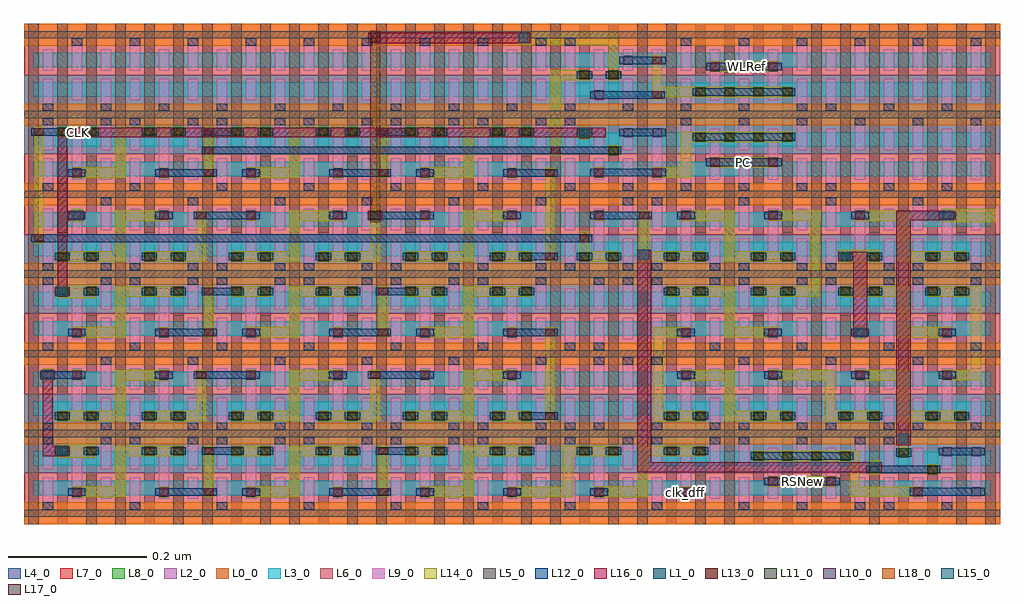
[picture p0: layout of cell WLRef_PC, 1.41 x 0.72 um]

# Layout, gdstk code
from math import pi, radians
import gdstk
lib = gdstk.Library(unit=1e-6, precision=5e-10)
def R(c, l, rs):  # rectangles x0, y0, x1, y1
    for r in rs: c.add(gdstk.rectangle(r[:2], r[2:], *l))
def A(c, l, x, y, w, h, nx, ny, dx, dy):  # array of equal rectangles
    R(c, l, [(x+i*dx, y+j*dy, x+i*dx+w, y+j*dy+h) for i in range(nx) for j in range(ny)])
L0_0 = (0, 0)
L1_0 = (1, 0)
L2_0 = (2, 0)
L3_0 = (3, 0)
L4_0 = (4, 0)
L5_0 = (5, 0)
L6_0 = (6, 0)
L7_0 = (7, 0)
L8_0 = (8, 0)
L9_0 = (9, 0)
L10_0 = (10, 0)
L11_0 = (11, 0)
L12_0 = (12, 0)
L13_0 = (13, 0)
L14_0 = (14, 0)
L15_0 = (15, 0)
L16_0 = (16, 0)
L17_0 = (17, 0)
L18_0 = (18, 0)

m1_m2 = lib.new_cell('M1_M2')
R(m1_m2, L14_0, [(-0.007,-0.01,0.007,0.01)])
R(m1_m2, L15_0, [(-0.007,-0.007,0.007,0.007)])
R(m1_m2, L16_0, [(-0.01,-0.007,0.01,0.007)])

nmos = lib.new_cell('nmos')
R(nmos, L3_0, [(-0.042,-0.0105,0.042,0.0105)])
A(nmos, L4_0, -0.0495, -0.032, 0.015, 0.064, 3, 1, 0.042, 0)
R(nmos, L7_0, [(-0.0555,-0.021,0.0555,0.0205)])
R(nmos, L9_0, [(-0.0285,-0.0155,-0.0135,0.0155), (0.0135,-0.0155,0.0285,0.0155)])

pmos = lib.new_cell('pmos')
R(pmos, L2_0, [(-0.042,-0.0205,0.042,0.0205)])
R(pmos, L3_0, [(-0.042,-0.0105,0.042,0.0105)])
A(pmos, L4_0, -0.0495, -0.032, 0.015, 0.064, 3, 1, 0.042, 0)
R(pmos, L8_0, [(-0.0555,-0.0205,0.0555,0.0205)])
R(pmos, L9_0, [(-0.0285,-0.0155,-0.0135,0.0155), (0.0135,-0.0155,0.0285,0.0155)])

bpr_m0a = lib.new_cell('BPR_M0A')
R(bpr_m0a, L0_0, [(-0.021,-0.0055,0.021,0.026)])
R(bpr_m0a, L1_0, [(-0.0075,-0.0055,0.0075,0.005)])
R(bpr_m0a, L9_0, [(-0.0075,-0.0165,0.0075,0.005)])

m0a_m0b = lib.new_cell('M0A_M0B')
R(m0a_m0b, L9_0, [(-0.0075,-0.0055,0.0075,0.0055)])
R(m0a_m0b, L10_0, [(-0.0065,-0.0065,0.0065,0.0065)])
R(m0a_m0b, L12_0, [(-0.0125,-0.0055,0.0125,0.0055)])

gate_m0b = lib.new_cell('GATE_M0B')
R(gate_m0b, L4_0, [(-0.0075,-0.0115,0.0075,0.0115)])
R(gate_m0b, L11_0, [(-0.0075,-0.0065,0.0075,0.0065)])
R(gate_m0b, L12_0, [(-0.011,-0.0055,0.011,0.0055)])

m0b_m1 = lib.new_cell('M0B_M1')
R(m0b_m1, L12_0, [(-0.011,-0.005,0.011,0.005)])
R(m0b_m1, L13_0, [(-0.007,-0.005,0.007,0.005)])
R(m0b_m1, L14_0, [(-0.007,-0.0075,0.007,0.0075)])

inv = lib.new_cell('inv')
R(inv, L0_0, [(0,0,0.153,0.0315), (0.025,0.006,0.0415,0.016), (0,0.1155,0.153,0.147), (0.11,0.131,0.125,0.1425)])
R(inv, L2_0, [(0,0.0745,0.153,0.147)])
A(inv, L4_0, 0.006, 0, 0.015, 0.147, 4, 1, 0.042, 0)
R(inv, L5_0, [(0,0.0105,0.153,0.021), (0,0.126,0.153,0.1365)])
R(inv, L6_0, [(0.006,0,0.021,0.147), (0.09,0,0.105,0.0715), (0.132,0,0.147,0.147)])
R(inv, L7_0, [(0,0,0.153,0.0745)])
R(inv, L8_0, [(0,0.075,0.153,0.1475)])
R(inv, L9_0, [(0.069,0.068,0.084,0.0795)])
R(inv, L12_0, [(0.0915,0.103,0.1055,0.1095)])
R(inv, L14_0, [(0.071,0.0415,0.0815,0.051), (0.0485,0.0985,0.1045,0.1135)])
inv.add(gdstk.Reference(nmos, (0.0975,0.0525)))
inv.add(gdstk.Reference(nmos, (0.0555,0.0525)))
inv.add(gdstk.Reference(pmos, (0.0975,0.095)))
inv.add(gdstk.Reference(pmos, (0.0555,0.095)))
inv.add(gdstk.Reference(bpr_m0a, (0.0345,0.026), rotation=pi))
inv.add(gdstk.Reference(bpr_m0a, (0.0345,0.121)))
inv.add(gdstk.Reference(bpr_m0a, (0.1185,0.121)))
inv.add(gdstk.Reference(m0a_m0b, (0.0765,0.0465)))
inv.add(gdstk.Reference(gate_m0b, (0.0555,0.106)))
inv.add(gdstk.Reference(gate_m0b, (0.0975,0.106)))
inv.add(gdstk.Reference(m0b_m1, (0.0555,0.106)))
inv.add(gdstk.Reference(m0b_m1, (0.0765,0.0465)))
inv.add(gdstk.Reference(m0b_m1, (0.0975,0.106)))
inv.add(gdstk.Label('vdd!', (0.1175,0.1365), layer=0, texttype=0))
inv.add(gdstk.Label('gnd!', (0.033,0.011), layer=0, texttype=0))
inv.add(gdstk.Label('out', (0.075,0.0435), layer=14, texttype=0))
inv.add(gdstk.Label('in', (0.0985,0.1045), layer=14, texttype=0))

buffer = lib.new_cell('buffer')
R(buffer, L0_0, [(0.045,0.0065,0.0615,0.0165), (0.13,0.1315,0.145,0.143)])
R(buffer, L14_0, [(0.0895,0.0395,0.167,0.0555), (0.152,0.0395,0.167,0.114), (0.217,0.0435,0.2275,0.053), (0.152,0.099,0.2125,0.114)])
buffer.add(gdstk.Reference(inv, (0.146,0.0005)))
buffer.add(gdstk.Reference(inv, (0.02,0.0005)))
buffer.add(gdstk.Label('out', (0.222,0.048), layer=14, texttype=0))
buffer.add(gdstk.Label('vdd!', (0.1375,0.137), layer=0, texttype=0))
buffer.add(gdstk.Label('gnd!', (0.053,0.0115), layer=0, texttype=0))

nor = lib.new_cell('nor')
R(nor, L0_0, [(0.157,0.0005,0.352,0.032), (0.186,0.009,0.1965,0.016), (0.157,0.116,0.352,0.1475), (0.1885,0.1335,0.1945,0.1415)])
R(nor, L2_0, [(0.157,0.075,0.352,0.1325)])
A(nor, L4_0, 0.163, 0.0005, 0.015, 0.147, 5, 1, 0.042, 0)
R(nor, L5_0, [(0.157,0.011,0.352,0.0215), (0.157,0.1265,0.352,0.137)])
R(nor, L6_0, [(0.163,0.0005,0.178,0.1475), (0.289,0.0005,0.304,0.1475), (0.331,0.0005,0.346,0.1475)])
R(nor, L7_0, [(0.157,0.0005,0.352,0.075)])
R(nor, L8_0, [(0.157,0.075,0.352,0.148)])
R(nor, L9_0, [(0.31,0.0635,0.325,0.0955)])
R(nor, L12_0, [(0.221,0.042,0.325,0.053), (0.263,0.1,0.33,0.111)])
R(nor, L14_0, [(0.2315,0.0455,0.2355,0.0495), (0.253,0.0775,0.2565,0.0805), (0.209,0.1035,0.2155,0.1085)])
nor.add(gdstk.Reference(bpr_m0a, (0.1915,0.1215)))
nor.add(gdstk.Reference(bpr_m0a, (0.2755,0.0265), rotation=pi))
nor.add(gdstk.Reference(bpr_m0a, (0.1915,0.0265), rotation=pi))
nor.add(gdstk.Reference(nmos, (0.2965,0.053)))
nor.add(gdstk.Reference(nmos, (0.2545,0.053)))
nor.add(gdstk.Reference(nmos, (0.2125,0.053)))
nor.add(gdstk.Reference(pmos, (0.2965,0.0955)))
nor.add(gdstk.Reference(pmos, (0.2545,0.0955)))
nor.add(gdstk.Reference(pmos, (0.2125,0.0955)))
nor.add(gdstk.Reference(m0b_m1, (0.2545,0.0795)))
nor.add(gdstk.Reference(m0b_m1, (0.2125,0.1055)))
nor.add(gdstk.Reference(m0b_m1, (0.2335,0.0475)))
nor.add(gdstk.Reference(m0a_m0b, (0.3175,0.0475)))
nor.add(gdstk.Reference(m0a_m0b, (0.3175,0.1055)))
nor.add(gdstk.Reference(m0a_m0b, (0.2755,0.1055)))
nor.add(gdstk.Reference(m0a_m0b, (0.2335,0.0475)))
nor.add(gdstk.Reference(gate_m0b, (0.2545,0.0795)))
nor.add(gdstk.Reference(gate_m0b, (0.2125,0.104)))
nor.add(gdstk.Label('Y', (0.2335,0.0475), layer=14, texttype=0))
nor.add(gdstk.Label('B', (0.2545,0.079), layer=14, texttype=0))
nor.add(gdstk.Label('A', (0.212,0.106), layer=14, texttype=0))
nor.add(gdstk.Label('gnd!', (0.191,0.0125), layer=0, texttype=0))
nor.add(gdstk.Label('vdd!', (0.1915,0.1375), layer=0, texttype=0))

invx4 = lib.new_cell('invx4')
R(invx4, L0_0, [(0.006,0,0.243,0.0315), (0.033,0.0045,0.0535,0.0175), (0.006,0.1155,0.243,0.147), (0.194,0.131,0.215,0.143)])
R(invx4, L2_0, [(0.006,0.0745,0.243,0.147)])
A(invx4, L4_0, 0.012, 0, 0.015, 0.147, 6, 1, 0.042, 0)
R(invx4, L5_0, [(0.006,0.0105,0.243,0.021), (0.006,0.126,0.243,0.1365)])
R(invx4, L6_0, [(0.012,0,0.027,0.147), (0.222,0,0.237,0.147), (0.138,0.0315,0.153,0.0715), (0.18,0.0315,0.195,0.0715)])
R(invx4, L7_0, [(0.006,0,0.243,0.0745)])
R(invx4, L8_0, [(0.006,0.075,0.243,0.1475)])
R(invx4, L9_0, [(0.075,0.06,0.09,0.0795), (0.159,0.06,0.174,0.08)])
R(invx4, L12_0, [(0.07,0.0565,0.179,0.0675), (0.0505,0.093,0.1985,0.104)])
R(invx4, L14_0, [(0.0755,0.0545,0.1735,0.0695), (0.0795,0.058,0.0865,0.0645), (0.0545,0.091,0.1945,0.106), (0.079,0.0965,0.0855,0.1015)])
invx4.add(gdstk.Reference(bpr_m0a, (0.2085,0.121)))
invx4.add(gdstk.Reference(bpr_m0a, (0.1245,0.026), rotation=pi))
invx4.add(gdstk.Reference(bpr_m0a, (0.2085,0.026), rotation=pi))
invx4.add(gdstk.Reference(bpr_m0a, (0.0405,0.026), rotation=pi))
invx4.add(gdstk.Reference(bpr_m0a, (0.1245,0.121)))
invx4.add(gdstk.Reference(bpr_m0a, (0.0405,0.121)))
invx4.add(gdstk.Reference(gate_m0b, (0.0615,0.0985)))
invx4.add(gdstk.Reference(gate_m0b, (0.1035,0.0985)))
invx4.add(gdstk.Reference(gate_m0b, (0.1455,0.0985)))
invx4.add(gdstk.Reference(gate_m0b, (0.1875,0.0985)))
invx4.add(gdstk.Reference(m0a_m0b, (0.0825,0.062)))
invx4.add(gdstk.Reference(m0a_m0b, (0.1665,0.062)))
invx4.add(gdstk.Reference(nmos, (0.1875,0.0525)))
invx4.add(gdstk.Reference(nmos, (0.1455,0.0525)))
invx4.add(gdstk.Reference(nmos, (0.0615,0.0525)))
invx4.add(gdstk.Reference(nmos, (0.1035,0.0525)))
invx4.add(gdstk.Reference(pmos, (0.1875,0.095)))
invx4.add(gdstk.Reference(pmos, (0.1455,0.095)))
invx4.add(gdstk.Reference(pmos, (0.1035,0.095)))
invx4.add(gdstk.Reference(pmos, (0.0615,0.095)))
invx4.add(gdstk.Reference(m0b_m1, (0.0615,0.0985)))
invx4.add(gdstk.Reference(m0b_m1, (0.1035,0.0985)))
invx4.add(gdstk.Reference(m0b_m1, (0.1455,0.0985)))
invx4.add(gdstk.Reference(m0b_m1, (0.1875,0.0985)))
invx4.add(gdstk.Reference(m0b_m1, (0.0825,0.062)))
invx4.add(gdstk.Reference(m0b_m1, (0.1665,0.062)))
invx4.add(gdstk.Label('vdd!', (0.2045,0.137), layer=0, texttype=0))
invx4.add(gdstk.Label('gnd!', (0.043,0.011), layer=0, texttype=0))
invx4.add(gdstk.Label('in', (0.082,0.099), layer=14, texttype=0))
invx4.add(gdstk.Label('out', (0.083,0.061), layer=14, texttype=0))

sram_filler = lib.new_cell('sram_filler')
R(sram_filler, L0_0, [(0.001,0,0.112,0.0315), (0.072,0.0115,0.084,0.0245), (0.001,0.1155,0.112,0.147), (0.072,0.121,0.0855,0.141)])
R(sram_filler, L2_0, [(0.001,0.0745,0.112,0.147)])
A(sram_filler, L4_0, 0.007, 0, 0.015, 0.147, 3, 1, 0.042, 0)
R(sram_filler, L5_0, [(0.001,0.0105,0.112,0.021), (0.001,0.126,0.112,0.1365)])
A(sram_filler, L6_0, 0.007, 0, 0.015, 0.147, 3, 1, 0.042, 0)
R(sram_filler, L7_0, [(0.001,0,0.112,0.0745)])
R(sram_filler, L8_0, [(0.001,0.075,0.112,0.1475)])
sram_filler.add(gdstk.Reference(nmos, (0.0565,0.0525)))
sram_filler.add(gdstk.Reference(pmos, (0.0565,0.095)))
sram_filler.add(gdstk.Reference(bpr_m0a, (0.0355,0.026), rotation=pi))
sram_filler.add(gdstk.Reference(bpr_m0a, (0.0775,0.121)))

nand = lib.new_cell('nand')
R(nand, L0_0, [(0.1045,0.057,0.2155,0.0885), (0.1465,0.057,0.2995,0.0885), (0.133,0.0665,0.142,0.074), (0.1045,0.1725,0.2155,0.204), (0.1465,0.1725,0.2995,0.204), (0.137,0.192,0.143,0.198)])
R(nand, L2_0, [(0.1045,0.1315,0.2155,0.204), (0.1465,0.1315,0.2995,0.204)])
A(nand, L4_0, 0.1105, 0.057, 0.015, 0.147, 5, 1, 0.042, 0)
R(nand, L4_0, [(0.2785,0.057,0.2935,0.204)])
R(nand, L5_0, [(0.1045,0.0675,0.2995,0.078), (0.1045,0.183,0.2995,0.1935)])
R(nand, L6_0, [(0.1105,0.057,0.1255,0.204), (0.2365,0.057,0.2515,0.204), (0.2785,0.057,0.2935,0.204)])
R(nand, L7_0, [(0.1045,0.057,0.2155,0.1315), (0.1465,0.057,0.2995,0.1315)])
R(nand, L8_0, [(0.1045,0.132,0.2155,0.2045), (0.1465,0.133,0.2995,0.2045)])
R(nand, L12_0, [(0.2105,0.1045,0.2775,0.1155), (0.1685,0.1545,0.276,0.1655)])
R(nand, L14_0, [(0.258,0.1025,0.272,0.1675), (0.1575,0.129,0.162,0.134), (0.2,0.1295,0.204,0.133), (0.262,0.1575,0.2675,0.1625)])
nand.add(gdstk.Reference(nmos, (0.244,0.1095), rotation=pi, x_reflection=True))
nand.add(gdstk.Reference(nmos, (0.16,0.1095), rotation=pi, x_reflection=True))
nand.add(gdstk.Reference(pmos, (0.16,0.152), rotation=pi, x_reflection=True))
nand.add(gdstk.Reference(pmos, (0.202,0.152), rotation=pi, x_reflection=True))
nand.add(gdstk.Reference(pmos, (0.244,0.152), rotation=pi, x_reflection=True))
nand.add(gdstk.Reference(bpr_m0a, (0.139,0.178), rotation=pi, x_reflection=True))
nand.add(gdstk.Reference(bpr_m0a, (0.139,0.083), x_reflection=True))
nand.add(gdstk.Reference(bpr_m0a, (0.223,0.178), rotation=pi, x_reflection=True))
nand.add(gdstk.Reference(m0a_m0b, (0.181,0.16)))
nand.add(gdstk.Reference(m0a_m0b, (0.223,0.11)))
nand.add(gdstk.Reference(m0b_m1, (0.265,0.16)))
nand.add(gdstk.Reference(m0b_m1, (0.265,0.11)))
nand.add(gdstk.Reference(m0b_m1, (0.202,0.131)))
nand.add(gdstk.Reference(m0b_m1, (0.16,0.131)))
nand.add(gdstk.Reference(gate_m0b, (0.202,0.131)))
nand.add(gdstk.Reference(gate_m0b, (0.16,0.131)))
nand.add(gdstk.Label('Y', (0.2645,0.16), layer=14, texttype=0))
nand.add(gdstk.Label('A', (0.1595,0.1315), layer=14, texttype=0))
nand.add(gdstk.Label('B', (0.202,0.131), layer=14, texttype=0))
nand.add(gdstk.Label('gnd!', (0.1375,0.07), layer=0, texttype=0))
nand.add(gdstk.Label('vdd!', (0.14,0.195), layer=0, texttype=0))

m2_m3 = lib.new_cell('M2_M3')
R(m2_m3, L16_0, [(-0.01,-0.007,0.01,0.007)])
R(m2_m3, L17_0, [(-0.007,-0.007,0.007,0.007)])
R(m2_m3, L18_0, [(-0.0075,-0.01,0.0075,0.01)])

wlref_pc = lib.new_cell('WLRef_PC')
A(wlref_pc, L12_0, 0.275, 0.0415, 0.089, 0.011, 1, 3, 0, 0.231)
A(wlref_pc, L12_0, 0.527, 0.0415, 0.089, 0.011, 1, 3, 0, 0.231)
A(wlref_pc, L12_0, 0.342, 0.101, 0.0615, 0.011, 1, 3, 0, 0.231)
A(wlref_pc, L12_0, 0.594, 0.101, 0.0615, 0.011, 1, 3, 0, 0.231)
R(wlref_pc, L12_0, [(1.3045,0.074,1.4115,0.085), (0.8015,0.1515,0.8575,0.1625), (0.1085,0.211,0.174,0.222), (0.3305,0.211,0.426,0.222), (0.5825,0.211,0.678,0.222), (0.779,0.2725,0.8575,0.2835), (0.8015,0.3825,0.8575,0.3935), (0.0955,0.409,0.9075,0.42), (0.3305,0.442,0.426,0.453), (0.5825,0.442,0.678,0.453), (0.905,0.442,0.994,0.453), (0.779,0.5035,0.8575,0.5145), (0.342,0.536,0.9495,0.547), (0.0955,0.563,0.1515,0.574)])
A(wlref_pc, L14_0, 0.346, 0.04, 0.014, 0.072, 1, 3, 0, 0.231)
A(wlref_pc, L14_0, 0.598, 0.04, 0.014, 0.072, 1, 3, 0, 0.231)
R(wlref_pc, L14_0, [(0.7845,0.0395,0.8795,0.0545), (0.865,0.0395,0.8795,0.114), (1.2805,0.04,1.3865,0.055), (1.037,0.0405,1.049,0.054), (1.2805,0.0405,1.2945,0.1065), (1.2005,0.0565,1.223,0.0675), (1.3095,0.072,1.324,0.093), (1.2675,0.0915,1.2945,0.1065), (0.1335,0.0965,0.1895,0.1165), (1.3515,0.098,1.3655,0.135), (0.865,0.099,0.9125,0.114), (1.3515,0.1145,1.3655,0.1345), (0.9965,0.1485,1.0505,0.1645), (0.9965,0.1485,1.0105,0.2855), (0.3015,0.1495,0.3485,0.1645), (0.3345,0.1495,0.3485,0.224), (0.5535,0.1495,0.6005,0.1645), (0.5865,0.1495,0.6005,0.224), (1.2445,0.1495,1.2585,0.224), (1.2445,0.1495,1.2875,0.1645), (0.8395,0.151,0.8535,0.2855), (1.1625,0.209,1.2585,0.224), (1.4145,0.209,1.471,0.224), (1.456,0.209,1.471,0.345), (0.9965,0.2705,1.0505,0.2855), (0.1335,0.3275,0.1895,0.3475), (1.1775,0.33,1.237,0.345), (1.223,0.33,1.237,0.455), (1.429,0.33,1.471,0.345), (1.2635,0.378,1.3235,0.398), (0.3015,0.3805,0.3485,0.3955), (0.3345,0.3805,0.3485,0.455), (0.5535,0.3805,0.6005,0.3955), (0.5865,0.3805,0.6005,0.455), (0.8895,0.3805,0.9035,0.4245), (0.976,0.3805,0.99,0.455), (0.976,0.3805,1.0295,0.3955), (0.8395,0.382,0.8535,0.5165), (0.0995,0.4075,0.1135,0.576), (1.4145,0.4375,1.492,0.4575), (1.1625,0.44,1.2395,0.455), (0.9945,0.502,1.051,0.517), (1.036,0.502,1.051,0.5685), (1.115,0.5175,1.139,0.5295), (0.847,0.534,0.862,0.6585), (1.036,0.5535,1.074,0.5685), (0.158,0.564,0.1695,0.5725), (0.9945,0.619,1.074,0.634), (0.847,0.6435,0.9035,0.6585), (0.9315,0.6435,0.9455,0.7145), (1.122,0.657,1.139,0.6695), (0.801,0.6945,0.9455,0.7145)])
R(wlref_pc, L16_0, [(0.973,0.0755,1.327,0.0905), (0.973,0.0755,0.993,0.3975), (0.1125,0.099,0.1265,0.224), (0.1125,0.099,0.1505,0.114), (1.3475,0.1145,1.3685,0.4545), (1.2855,0.271,1.3055,0.395), (0.1335,0.33,0.1475,0.5745), (1.2635,0.381,1.305,0.395), (0.1335,0.4405,0.1715,0.4545), (1.3475,0.4405,1.4315,0.4545), (0.1335,0.5605,0.9275,0.5745), (0.5835,0.697,0.818,0.712)])
R(wlref_pc, L18_0, [(0.586,0.4375,0.601,0.715)])
wlref_pc.add(gdstk.Reference(m1_m2, (0.808,0.7045)))
wlref_pc.add(gdstk.Reference(m1_m2, (0.5935,0.4475)))
wlref_pc.add(gdstk.Reference(m1_m2, (1.358,0.1245)))
wlref_pc.add(gdstk.Reference(m1_m2, (1.4215,0.4475)))
wlref_pc.add(gdstk.Reference(m1_m2, (1.3165,0.083)))
wlref_pc.add(gdstk.Reference(m1_m2, (0.983,0.3905)))
wlref_pc.add(gdstk.Reference(m1_m2, (1.2735,0.388)))
wlref_pc.add(gdstk.Reference(m1_m2, (1.2955,0.278)))
wlref_pc.add(gdstk.Reference(m1_m2, (0.8965,0.5675)))
wlref_pc.add(gdstk.Reference(m1_m2, (0.1405,0.1065)))
wlref_pc.add(gdstk.Reference(m1_m2, (0.1405,0.3375)))
wlref_pc.add(gdstk.Reference(m1_m2, (0.1615,0.4475)))
wlref_pc.add(gdstk.Reference(m1_m2, (0.1195,0.2165)))
wlref_pc.add(gdstk.Reference(buffer, (1.199,0.2635), x_reflection=True))
wlref_pc.add(gdstk.Reference(buffer, (1.518,0.231), rotation=pi, x_reflection=True))
wlref_pc.add(gdstk.Reference(buffer, (1.199,0.4945), x_reflection=True))
wlref_pc.add(gdstk.Reference(buffer, (0.821,0)))
wlref_pc.add(gdstk.Reference(buffer, (0.947,0.2635), x_reflection=True))
wlref_pc.add(gdstk.Reference(buffer, (1.266,0.231), rotation=pi, x_reflection=True))
wlref_pc.add(gdstk.Reference(buffer, (0.947,0.4945), x_reflection=True))
wlref_pc.add(gdstk.Reference(buffer, (0.384,0.4945), rotation=pi))
wlref_pc.add(gdstk.Reference(buffer, (0.636,0.4945), rotation=pi))
wlref_pc.add(gdstk.Reference(buffer, (0.888,0.4945), rotation=pi))
wlref_pc.add(gdstk.Reference(buffer, (0.569,0.462)))
wlref_pc.add(gdstk.Reference(buffer, (0.317,0.462)))
wlref_pc.add(gdstk.Reference(buffer, (0.065,0.462)))
wlref_pc.add(gdstk.Reference(buffer, (0.065,0)))
wlref_pc.add(gdstk.Reference(buffer, (0.317,0)))
wlref_pc.add(gdstk.Reference(buffer, (0.569,0)))
wlref_pc.add(gdstk.Reference(buffer, (0.065,0.231)))
wlref_pc.add(gdstk.Reference(buffer, (0.317,0.231)))
wlref_pc.add(gdstk.Reference(buffer, (0.569,0.231)))
wlref_pc.add(gdstk.Reference(buffer, (0.888,0.2635), rotation=pi))
wlref_pc.add(gdstk.Reference(buffer, (0.636,0.2635), rotation=pi))
wlref_pc.add(gdstk.Reference(buffer, (0.384,0.2635), rotation=pi))
wlref_pc.add(gdstk.Reference(nor, (1.146,0)))
wlref_pc.add(gdstk.Reference(nor, (0.684,0.462)))
wlref_pc.add(gdstk.Reference(m0b_m1, (0.605,0.0475)))
wlref_pc.add(gdstk.Reference(m0b_m1, (0.605,0.1065)))
wlref_pc.add(gdstk.Reference(m0b_m1, (0.353,0.0475)))
wlref_pc.add(gdstk.Reference(m0b_m1, (0.353,0.1065)))
wlref_pc.add(gdstk.Reference(m0b_m1, (0.8545,0.5415)))
wlref_pc.add(gdstk.Reference(m0b_m1, (1.3155,0.0795)))
wlref_pc.add(gdstk.Reference(m0b_m1, (0.8965,0.4145)))
wlref_pc.add(gdstk.Reference(m0b_m1, (0.1065,0.415)))
wlref_pc.add(gdstk.Reference(m0b_m1, (0.1065,0.5685)))
wlref_pc.add(gdstk.Reference(m0b_m1, (1.0015,0.5095)))
wlref_pc.add(gdstk.Reference(m0b_m1, (0.353,0.5415)))
wlref_pc.add(gdstk.Reference(m0b_m1, (0.353,0.569)))
wlref_pc.add(gdstk.Reference(m0b_m1, (0.353,0.5095)))
wlref_pc.add(gdstk.Reference(m0b_m1, (0.605,0.569)))
wlref_pc.add(gdstk.Reference(m0b_m1, (0.983,0.4475)))
wlref_pc.add(gdstk.Reference(m0b_m1, (0.353,0.2785)))
wlref_pc.add(gdstk.Reference(m0b_m1, (0.353,0.338)))
wlref_pc.add(gdstk.Reference(m0b_m1, (0.605,0.338)))
wlref_pc.add(gdstk.Reference(m0b_m1, (0.605,0.2785)))
wlref_pc.add(gdstk.Reference(m0b_m1, (0.8465,0.278)))
wlref_pc.add(gdstk.Reference(m0b_m1, (0.605,0.5095)))
wlref_pc.add(gdstk.Reference(m0b_m1, (0.1195,0.2165)))
wlref_pc.add(gdstk.Reference(m0b_m1, (0.8465,0.157)))
wlref_pc.add(gdstk.Reference(m0b_m1, (0.5935,0.2165)))
wlref_pc.add(gdstk.Reference(m0b_m1, (0.3415,0.4475)))
wlref_pc.add(gdstk.Reference(m0b_m1, (0.3415,0.2165)))
wlref_pc.add(gdstk.Reference(m0b_m1, (0.5935,0.4475)))
wlref_pc.add(gdstk.Reference(m0b_m1, (0.8465,0.388)))
wlref_pc.add(gdstk.Reference(m0b_m1, (0.8465,0.509)))
wlref_pc.add(gdstk.Reference(invx4, (1.252,0.725), rotation=pi))
wlref_pc.add(gdstk.Reference(invx4, (1.087,0.0005)))
wlref_pc.add(gdstk.Reference(invx4, (1.003,0.4625)))
wlref_pc.add(gdstk.Reference(inv, (0.994,0.494), rotation=pi))
wlref_pc.add(gdstk.Reference(sram_filler, (0.197,0.725), rotation=pi))
wlref_pc.add(gdstk.Reference(sram_filler, (0.281,0.725), rotation=pi))
wlref_pc.add(gdstk.Reference(sram_filler, (0.365,0.725), rotation=pi))
wlref_pc.add(gdstk.Reference(sram_filler, (0.449,0.725), rotation=pi))
wlref_pc.add(gdstk.Reference(sram_filler, (0.533,0.725), rotation=pi))
wlref_pc.add(gdstk.Reference(sram_filler, (0.617,0.725), rotation=pi))
wlref_pc.add(gdstk.Reference(sram_filler, (0.701,0.725), rotation=pi))
wlref_pc.add(gdstk.Reference(sram_filler, (0.785,0.725), rotation=pi))
wlref_pc.add(gdstk.Reference(sram_filler, (0.869,0.725), rotation=pi))
wlref_pc.add(gdstk.Reference(sram_filler, (0.869,0.725), rotation=pi))
wlref_pc.add(gdstk.Reference(sram_filler, (1.499,0.725), rotation=pi))
wlref_pc.add(gdstk.Reference(sram_filler, (1.415,0.725), rotation=pi))
wlref_pc.add(gdstk.Reference(sram_filler, (1.331,0.725), rotation=pi))
wlref_pc.add(gdstk.Reference(sram_filler, (1.386,0.4625)))
wlref_pc.add(gdstk.Reference(sram_filler, (1.302,0.4625)))
wlref_pc.add(gdstk.Reference(sram_filler, (1.218,0.4625)))
wlref_pc.add(gdstk.Reference(sram_filler, (0.953,0.263), rotation=pi))
wlref_pc.add(gdstk.Reference(sram_filler, (0.995,0.263), rotation=pi))
wlref_pc.add(gdstk.Reference(sram_filler, (0.882,0.2315)))
wlref_pc.add(gdstk.Reference(sram_filler, (0.84,0.2315)))
wlref_pc.add(gdstk.Reference(nand, (0.7365,0.782), x_reflection=True))
wlref_pc.add(gdstk.Reference(m2_m3, (0.5935,0.705)))
wlref_pc.add(gdstk.Reference(m2_m3, (0.5935,0.4475)))
wlref_pc.add(gdstk.Label('CLK', (0.1635,0.568), layer=14, texttype=0))
wlref_pc.add(gdstk.Label('clk_dff', (1.043,0.047), layer=14, texttype=0))
wlref_pc.add(gdstk.Label('RSNew', (1.2115,0.062), layer=14, texttype=0))
wlref_pc.add(gdstk.Label('PC', (1.127,0.5235), layer=14, texttype=0))
wlref_pc.add(gdstk.Label('WLRef', (1.1305,0.663), layer=14, texttype=0))

lib.write_gds('WLRef_PC.gds')
